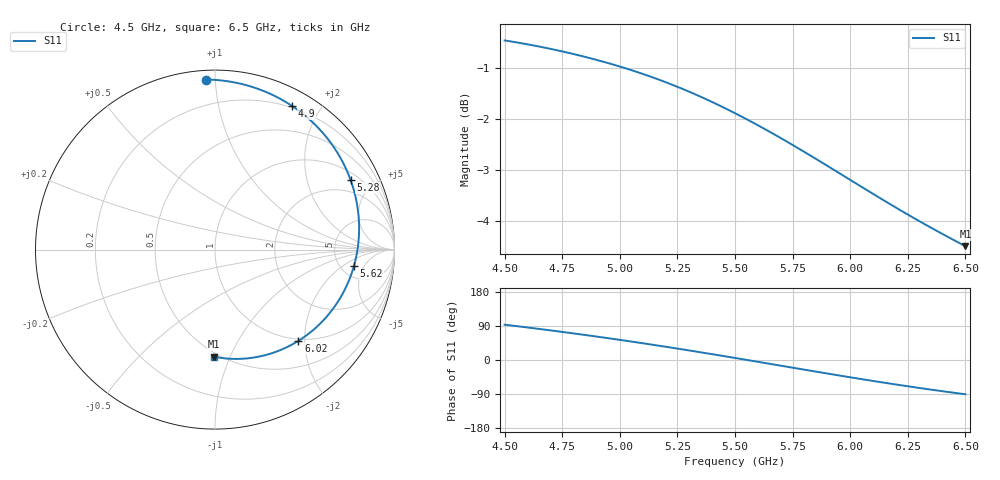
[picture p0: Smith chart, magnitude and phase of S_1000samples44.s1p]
! TOUCHSTONE file generated by CST MICROWAVE STUDIO
! Date and time: Wed Oct 26 19:30:50 2022
! Project name: L.cst
! Parameters = {Di=1.27; Epsilon_r=1.56; InnerDiameter=1.27; Length=2; Lf=10; Lg=60; OuterConductorThickness=0.2921; OuterDiameter=3.6; Wf=3; Wp=41.2; de=1.5; df=6.8; g=0.8; gx=1.28477; gy=4.16009; h=2.34; hf=1.524; px=9.17187; py=9.81849; w=9.7; wx=7.8871; wy=5.6584}
! Header version: 2018
! Port assignment regex: !\s*Touchstone port\s*([0-9]+)\s*=\s*(CST MWS port|CST DS port)\s*([0-9]+|Zmin|Zmax)\s*\(\"(.*)\"\)(\s*mode\s*([0-9]+))?.*
! Touchstone port assignment:
! Touchstone port 1 = CST MWS port 1 ("")
# GHz S DB R 50
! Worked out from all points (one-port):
!   101 points, 4.5 GHz to 6.5 GHz, reference 50 ohm
!   lowest |S11| = -4.5 dB at 6.5 GHz (marker M1), VSWR 3.96, Z = 23.6 - j43.7 ohm
!   |S11| at or under -10 dB: nowhere
!   S11 on the Smith chart (normalised r, x): 4.5 GHz: 0.05, +0.94; 4.9 GHz: 0.18, +1.66; 5.28 GHz: 1.32, +3.68; 5.62 GHz: 6.55, -3.11; 6.02 GHz: 0.96, -1.86; 6.5 GHz: 0.47, -0.87
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4.5  -0.46 93.2
4.58  -0.52 87.3
4.64  -0.57 82.7
4.76  -0.68 73.3
4.84  -0.77 66.8
4.9  -0.84 61.8
5  -0.97 53.1
5.06  -1.05 47.8
5.14  -1.17 40.5
5.2  -1.27 34.9
5.26  -1.38 29.2
5.28  -1.42 27.2
5.34  -1.54 21.4
5.4  -1.66 15.4
5.5  -1.88 5.4
5.56  -2.02 -0.7
5.62  -2.17 -6.9
5.68  -2.32 -13.1
5.76  -2.53 -21.3
5.88  -2.85 -33.6
5.94  -3.02 -39.6
6  -3.19 -45.6
6.02  -3.24 -47.6
6.08  -3.41 -53.4
6.14  -3.57 -59.2
6.26  -3.89 -70.2
6.38  -4.19 -80.7
6.5  -4.48 -90.4
